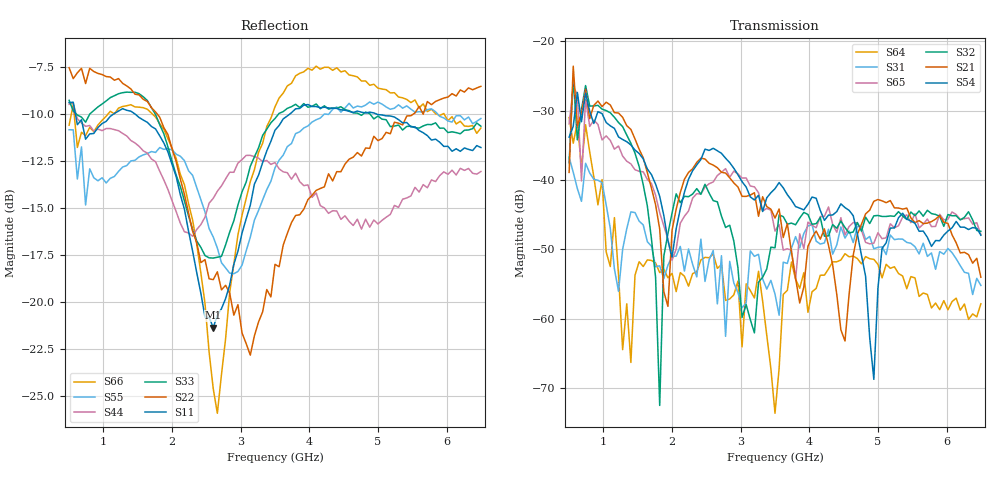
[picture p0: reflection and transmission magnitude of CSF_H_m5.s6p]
!Keysight Technologies,M9804A,MY58100912,A.14.10.03
!Date: Thursday, April 27, 2023 10:28:33
!Correction: S11(C  6-Port  )
!S12(C  6-Port  )
!S13(C  6-Port  )
!S14(C  6-Port  )
!S15(C  6-Port  )
!S16(C  6-Port  )
!S21(C  6-Port  )
!S22(C  6-Port  )
!S23(C  6-Port  )
!S24(C  6-Port  )
!S25(C  6-Port  )
!S26(C  6-Port  )
!S31(C  6-Port  )
!S32(C  6-Port  )
!S33(C  6-Port  )
!S34(C  6-Port  )
!S35(C  6-Port  )
!S36(C  6-Port  )
!S41(C  6-Port  )
!S42(C  6-Port  )
!S43(C  6-Port  )
!S44(C  6-Port  )
!S45(C  6-Port  )
!S46(C  6-Port  )
!S51(C  6-Port  )
!S52(C  6-Port  )
!S53(C  6-Port  )
!S54(C  6-Port  )
!S55(C  6-Port  )
!S56(C  6-Port  )
!S61(C  6-Port  )
!S62(C  6-Port  )
!S63(C  6-Port  )
!S64(C  6-Port  )
!S65(C  6-Port  )
!S66(C  6-Port  )
!S6P File: Measurement: :
# Hz S  RI  R 50
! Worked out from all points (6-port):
!   101 points, 500 MHz to 6.5 GHz, reference 50 ohm
!   strongest paths, dB at 500 MHz, 2 GHz, 3.5 GHz, 5 GHz, 6.5 GHz:
!     S54: -33.8, -51.1, -41.2, -55.6, -47.9
!     S21: -38.9, -47.2, -45.5, -42.8, -54.0
!     S32: -37.5, -44.7, -49.8, -45.1, -47.4
!     S65: -31.9, -51.5, -47.3, -47.6, -47.8
!     S31: -36.7, -51.0, -56.4, -49.7, -55.2
!     S64: -31.0, -53.4, -73.6, -52.1, -57.8
!   lowest |S11| = -21.4 dB at 2.6 GHz (marker M1), VSWR 1.19, Z = 42.4 + j2.27 ohm
!   |S11| at or under -10 dB: 592.5 MHz to 1.141 GHz (548.4 MHz wide, 63.3 % of centre); 1.467 GHz to 3.71 GHz (2.243 GHz wide, 86.7 % of centre); 4.992 GHz to end of sweep
